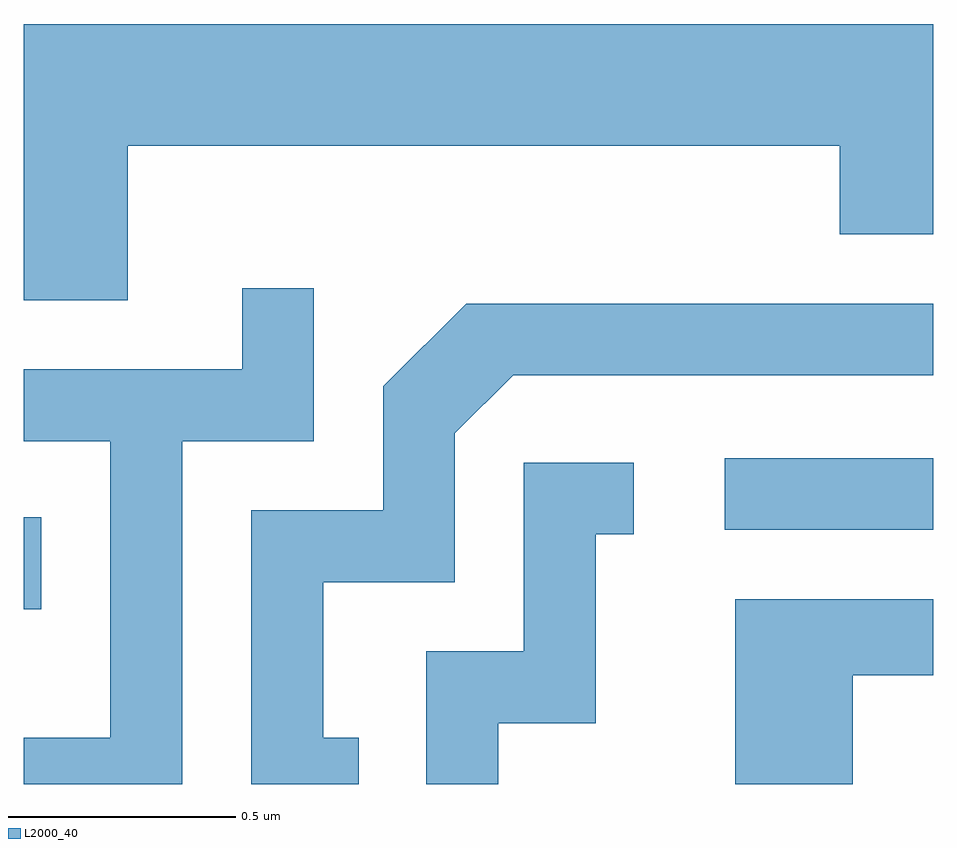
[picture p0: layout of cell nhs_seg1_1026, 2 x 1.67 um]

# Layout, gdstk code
import gdstk
lib = gdstk.Library(unit=1e-6, precision=1e-09)
def R(c, l, rs):  # rectangles x0, y0, x1, y1
    for r in rs: c.add(gdstk.rectangle(r[:2], r[2:], *l))
def P(c, l, *ps):  # polygons
    for p in ps: c.add(gdstk.Polygon(p, *l))
L2000_40 = (2000, 40)

nhs_seg1_1026 = lib.new_cell('nhs_seg1_1026')
R(nhs_seg1_1026, L2000_40, [(192.611,914.096,192.649,914.299), (194.153,914.271,194.611,914.429)])
P(nhs_seg1_1026, L2000_40, [(192.839,915.116),(194.406,915.116),(194.406,914.921),(194.611,914.921),(194.611,915.384),(192.611,915.384),(192.611,914.776),(192.839,914.776)],
  [(192.959,914.466),(193.249,914.466),(193.249,914.803),(193.091,914.803),(193.091,914.624),(192.611,914.624),(192.611,914.466),(192.801,914.466),(192.801,913.814),(192.611,913.814),(192.611,913.712),(192.959,913.712)],
  [(193.348,913.814),(193.269,913.814),(193.269,914.156),(193.559,914.156),(193.559,914.484),(193.687,914.611),(194.611,914.611),(194.611,914.769),(193.584,914.769),(193.401,914.587),(193.401,914.314),(193.111,914.314),(193.111,913.712),(193.348,913.712)],
  [(193.654,913.846),(193.869,913.846),(193.869,914.261),(193.953,914.261),(193.953,914.419),(193.711,914.419),(193.711,914.004),(193.496,914.004),(193.496,913.712),(193.654,913.712)],
  [(194.434,913.951),(194.611,913.951),(194.611,914.119),(194.176,914.119),(194.176,913.712),(194.434,913.712)])

lib.write_gds('nhs_seg1_1026.gds')
